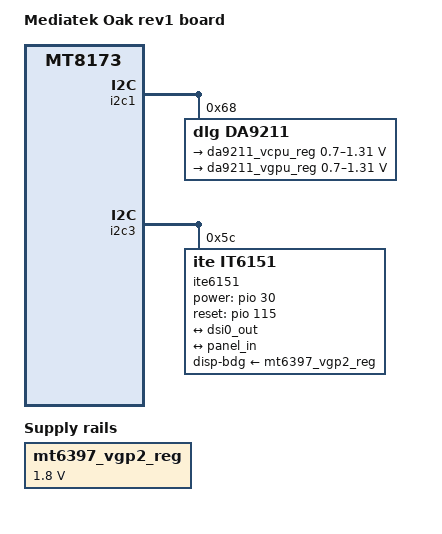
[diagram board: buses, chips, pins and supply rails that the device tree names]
/*
 * Copyright (c) 2014 MediaTek Inc.
 * Author: Eddie Huang <eddie.huang@mediatek.com>
 *
 * This program is free software; you can redistribute it and/or modify
 * it under the terms of the GNU General Public License version 2 as
 * published by the Free Software Foundation.
 *
 * This program is distributed in the hope that it will be useful,
 * but WITHOUT ANY WARRANTY; without even the implied warranty of
 * MERCHANTABILITY or FITNESS FOR A PARTICULAR PURPOSE.  See the
 * GNU General Public License for more details.
 */

/dts-v1/;
#include "mt8173-oak.dtsi"

/ {
	model = "Mediatek Oak rev1 board";
	compatible = "google,oak-rev1", "google,oak", "mediatek,mt8173";
};

&backlight_lcd {
	/delete-property/ power-supply; /* Not used on oak-rev1 */
};

&bl_fixed_reg {
	status = "disabled";
};

&cpu2 {
	proc-supply = <&da9211_vcpu_reg>;
	operating-points = <
		507000  828000
		702000  867000
		1001000 927000
		1209000 968000
		1404000 1007000
		1612000 1049000
	>;
};

&cpu3 {
	proc-supply = <&da9211_vcpu_reg>;
	operating-points = <
		507000  828000
		702000  867000
		1001000 927000
		1209000 968000
		1404000 1007000
		1612000 1049000
	>;
};

&dsi0_out {
	remote-endpoint = <&ite6151_in>;
};

&gpu {
	mfgsys-power-supply = <&da9211_vgpu_reg>;
	operating-points = <
		253500 1000000
		299000 1000000
		396500 1000000
		455000 1000000
		494000 1130000
	>;
};

&i2c1 {
	da9211: da9211@68 {
		compatible = "dlg,da9211";
		reg = <0x68>;

		regulators {
			da9211_vcpu_reg: BUCKA {
				regulator-name = "VBUCKA";
				regulator-min-microvolt = < 700000>;
				regulator-max-microvolt = <1310000>;
				regulator-min-microamp	= <2000000>;
				regulator-max-microamp	= <4400000>;
				regulator-ramp-delay = <10000>;
				regulator-always-on;
			};

			da9211_vgpu_reg: BUCKB {
				regulator-name = "VBUCKB";
				regulator-min-microvolt = < 700000>;
				regulator-max-microvolt = <1310000>;
				regulator-min-microamp	= <2000000>;
				regulator-max-microamp	= <3000000>;
				regulator-ramp-delay = <10000>;
			};
		};
	};
};

&i2c3 {
	ite6151: edp-bridge@5c {
		compatible = "ite,it6151";
		reg = <0x5c>;
		rxreg = <0x6c>;
		power-gpio = <&pio 30 GPIO_ACTIVE_HIGH>;
		reset-gpio = <&pio 115 GPIO_ACTIVE_HIGH>;
		disp-bdg-supply = <&mt6397_vgp2_reg>;
		#address-cells = <1>;
		#size-cells = <0>;

		edid = [00 ff ff ff ff ff ff 00 0d ae 32 11 00 00 00 00
			13 17 01 04 95 1a 0e 78 02 14 35 92 55 53 95 29
			24 50 54 00 00 00 01 01 01 01 01 01 01 01 01 01
			01 01 01 01 01 01 da 1d 56 e2 50 00 20 30 88 1e
			8c 00 00 90 10 00 00 18 00 00 00 fe 00 4e 31 31
			36 42 47 45 2d 45 41 32 0a 20 00 00 00 fe 00 43
			4d 4e 0a 20 20 20 20 20 20 20 20 20 00 00 00 fe
			00 4e 31 31 36 42 47 45 2d 45 41 32 0a 20 00 48];

		port@0 {
			reg = <0>;

			ite6151_in: endpoint {
				remote-endpoint = <&dsi0_out>;
			};
		};

		port@1 {
			reg = <1>;

			ite6151_out: endpoint {
				remote-endpoint = <&panel_in>;
			};
		};
	};
};

&mt6311 {
	status = "disabled";
};

&mt6397_vgp2_reg {
	regulator-min-microvolt = <1800000>;
	regulator-max-microvolt = <1800000>;
};

&panel {
	/delete-property/ power-supply; /* Not used on oak-rev1 */
	/delete-property/ ddc-i2c-bus; /* Not used on oak-rev1 */

	port {
		panel_in: endpoint {
			remote-endpoint = <&ite6151_out>;
		};
	};
};

&panel_fixed_3v3 {
	status = "disabled";
};

&ps8640 {
	status = "disabled";
};

&ps8640_fixed_1v2 {
	status = "disabled";
};
